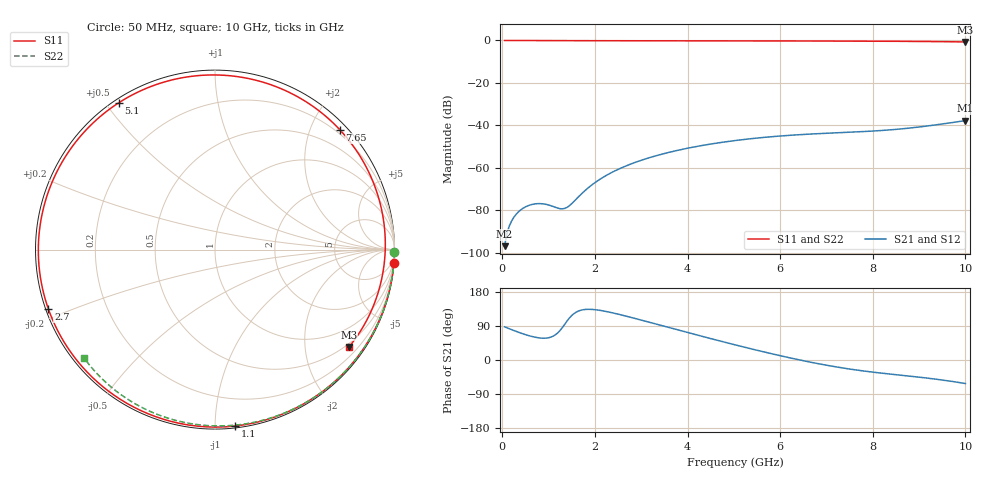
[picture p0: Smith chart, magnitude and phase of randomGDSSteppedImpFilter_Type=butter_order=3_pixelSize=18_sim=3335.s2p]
! freq	dB(S11)	phase(S11)	dB(S12)	phase(S12)
!  dB(S21)	phase(S21)	dB(S22)	phase(S22)
!S-par simulation data
#  GHz  S  DB  R 50
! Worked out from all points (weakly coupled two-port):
!   200 points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, 50 MHz to 10 GHz, reference 50 ohm
!   highest |S21| = -37.75 dB at 10 GHz (marker M1); lowest = -96.9 dB at 50 MHz (marker M2)
!   lowest |S11| = -0.7 dB at 10 GHz (marker M3), VSWR 24.94, Z = 20.7 - j151 ohm
!   |S11| at or under -10 dB: nowhere
!   |S22| runs from -0.5 to 0.0 dB; largest |S21 - S12| = 0
!   S11 on the Smith chart (normalised r, x): 50 MHz: 0, -27; 1.1 GHz: 0.01, -1.12; 2.7 GHz: 0.01, -0.17; 5.1 GHz: 0.01, +0.54; 7.65 GHz: 0.13, +2.49; 10 GHz: 0.41, -3.03
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0.05  -0.00 -4.2  -96.89 87.5  -96.89 87.5  -0.00 -0.8
0.4  -0.04 -32.9  -79.77 71.0  -79.77 71.0  -0.01 -6.5
0.6  -0.06 -48.5  -77.49 63.3  -77.49 63.3  -0.01 -9.7
0.85  -0.08 -66.7  -76.90 57.7  -76.90 57.7  -0.02 -13.8
1.1  -0.09 -83.4  -78.21 63.0  -78.21 63.0  -0.02 -17.8
1.3  -0.10 -95.6  -79.31 86.1  -79.31 86.1  -0.03 -21.0
1.4  -0.10 -101.4  -78.60 103.1  -78.60 103.1  -0.03 -22.5
1.75  -0.11 -119.9  -71.44 132.8  -71.44 132.8  -0.04 -28.1
2.15  -0.12 -138.4  -64.80 130.2  -64.80 130.2  -0.04 -34.3
2.7  -0.13 -160.3  -58.84 114.9  -58.84 114.9  -0.06 -42.8
3.4  -0.14 175.4  -53.82 92.3  -53.82 92.3  -0.07 -53.4
4.2  -0.16 150.3  -49.92 66.1  -49.92 66.1  -0.09 -65.1
5.05  -0.19 124.8  -47.08 39.3  -47.08 39.3  -0.12 -77.2
5.1  -0.19 123.3  -46.94 37.7  -46.94 37.7  -0.12 -77.9
5.9  -0.22 99.2  -45.18 14.2  -45.18 14.2  -0.15 -88.8
6.7  -0.26 74.4  -44.03 -6.8  -44.03 -6.8  -0.19 -99.3
7.15  -0.29 60.0  -43.56 -17.0  -43.56 -17.0  -0.22 -105.1
7.65  -0.32 43.7  -43.07 -26.5  -43.07 -26.5  -0.25 -111.5
8.35  -0.38 20.4  -42.16 -36.8  -42.16 -36.8  -0.31 -120.3
9.15  -0.49 -6.7  -40.36 -47.4  -40.36 -47.4  -0.38 -130.1
9.55  -0.58 -20.5  -39.19 -53.7  -39.19 -53.7  -0.42 -135.0
10  -0.70 -36.0  -37.75 -62.1  -37.75 -62.1  -0.47 -140.6
